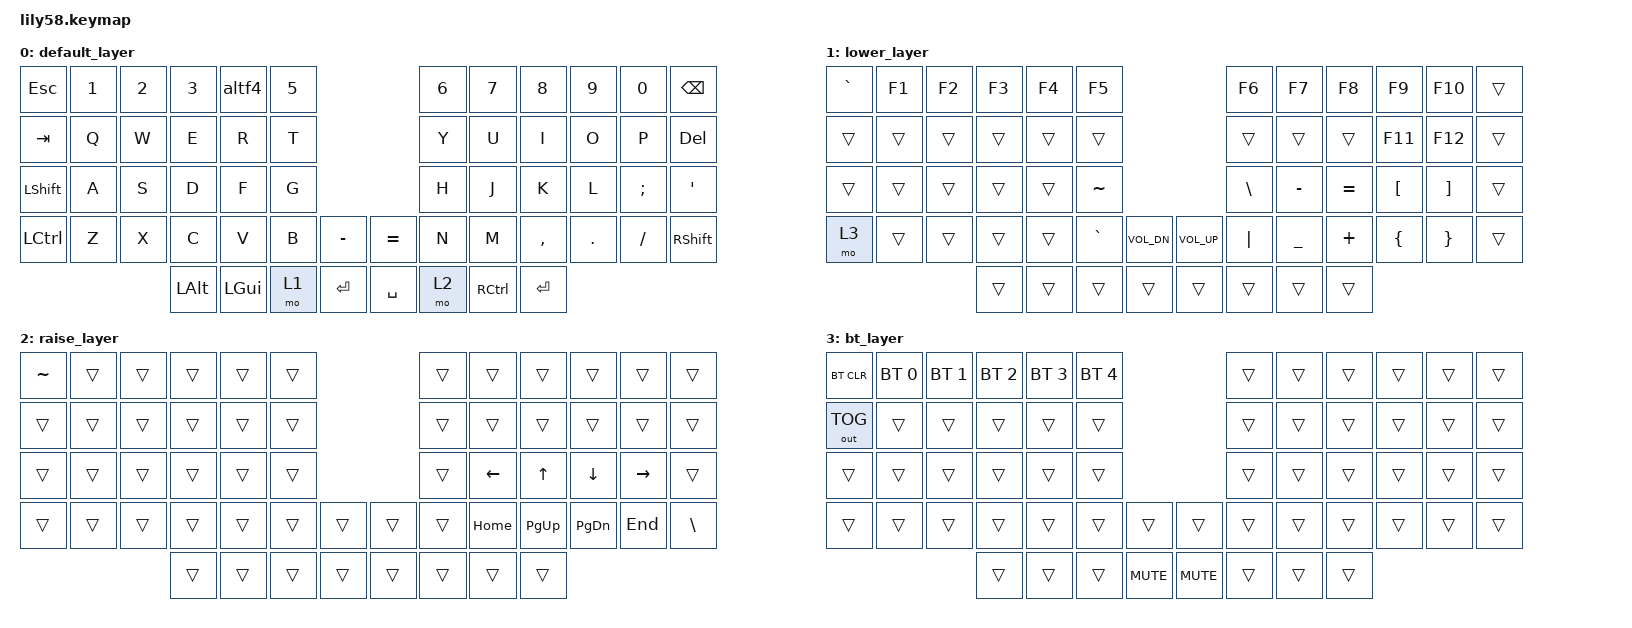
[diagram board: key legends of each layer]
/*
 * Copyright (c) 2020 The ZMK Contributors
 *
 * SPDX-License-Identifier: MIT
 */

#include <behaviors.dtsi>
#include <dt-bindings/zmk/keys.h>
#include <dt-bindings/zmk/bt.h>
#include <dt-bindings/zmk/outputs.h>

/ {
	
    behaviors {
        altf4: alt_f4 {
            compatible = "zmk,behavior-mod-morph";
            label = "ALT_F4";
            #binding-cells = <0>;
            bindings = <&kp N4>, <&kp LA(F4)>;
            mods = <(MOD_LALT)>;
        };
    };

	keymap {
		compatible = "zmk,keymap";

		default_layer {
// ------------------------------------------------------------------------------------------------------------------
// |  ESC  |  1  |  2  |  3   |  4*  |  5   |                         |  6   |  7    |  8    |  9   |   0   | BSPC  |
// |  TAB  |  Q  |  W  |  E   |  R   |  T   |                         |  Y   |  U    |  I    |  O   |   P   |  DEL  |
// | SHIFT |  A  |  S  |  D   |  F   |  G   |                         |  H   |  J    |  K    |  L   |   ;   |   '   |
// | CTRL  |  Z  |  X  |  C   |  V   |  B   |    -   |        |   =   |  N   |  M    |  ,    |  .   |   /   | SHIFT |
//                     | ALT  | GUI  | LOWER|  ENTER |        | SPACE | RAISE| CTRL  | ENTER |
			bindings = <
&kp ESC   &kp N1 &kp N2 &kp N3   &altf4   &kp N5                      &kp N6 &kp N7    &kp N8    &kp N9  &kp N0   &kp BSPC
&kp TAB   &kp Q  &kp W  &kp E    &kp R    &kp T                       &kp Y  &kp U     &kp I     &kp O   &kp P    &kp DEL
&kp LSHFT &kp A  &kp S  &kp D    &kp F    &kp G                       &kp H  &kp J     &kp K     &kp L   &kp SEMI &kp SQT
&kp LCTRL &kp Z  &kp X  &kp C    &kp V    &kp B  &kp MINUS  &kp EQUAL &kp N  &kp M     &kp COMMA &kp DOT &kp FSLH &kp RSHFT
                        &kp LALT &kp LGUI &mo 1  &kp RET    &kp SPACE &mo 2  &kp RCTRL &kp ENTER
			>;
		};

		lower_layer {
// ----------------------------------------------------------------------------------------------------------------------------------------
// |  `  |  F1 |  F2 |  F3  |  F4  |  F5  |                                                |  F6   |  F7   |  F8   |  F9  |  F10  |  DEL  |
// |     |     |     |      |      |      |                                                |       |       |       |  F11 |  F12  |       |
// |     |     |     |      |      |  ~   |                                                |  \    |  -    |  =    |  (   |   )   |       |
// |     |     |     |      |      |  `   |  Vol-  |                           |  Vol+     |  |    |  _    |  +    |  {   |   }   |       |
//                   |      |      |      |        |                           |           |       |       |       |
			bindings = <
&kp GRAVE  &kp F1   &kp F2  &kp F3    &kp F4      &kp F5                                   &kp F6   &kp F7    &kp F8    &kp F9    &kp F10   &trans
&trans     &trans   &trans  &trans    &trans      &trans                                   &trans   &trans    &trans    &kp F11   &kp F12   &trans
&trans     &trans   &trans  &trans    &trans      &kp TILDE                                &kp BSLH &kp MINUS &kp EQUAL &kp LBKT  &kp RBKT  &trans
&mo 3      &trans   &trans  &trans    &trans      &kp GRAVE   &kp C_VOL_DN   &kp C_VOL_UP  &kp PIPE &kp UNDER &kp PLUS  &kp LBRC  &kp RBRC  &trans
                            &trans    &trans      &trans      &trans         &trans        &trans   &trans    &trans
			>;
		};

		raise_layer {
// ------------------------------------------------------------------------------------------------------------------
// |   ~   |     |     |      |      |      |                         |      |       |       |      |       |       |
// |       |     |     |      |      |      |                         |      |       |       |      |       |       |
// |       |     |     |      |      |      |                         |      |   <-  |   ^   |  v   |  ->   |       |
// |       |     |     |      |      |      |        |        |       |      | Home  | PgUp  | PgDn |  End  |       |
//                     |      |      |      |        |        |       |      |       |       |
			bindings = <
&kp TILDE &trans &trans &trans  &trans  &trans                        &trans   &trans    &trans    &trans    &trans    &trans
&trans    &trans &trans &trans  &trans  &trans                        &trans   &trans    &trans    &trans    &trans    &trans
&trans    &trans &trans &trans  &trans  &trans                        &trans   &kp LEFT  &kp UP    &kp DOWN  &kp RIGHT &trans
&trans    &trans &trans &trans  &trans  &trans  &trans      &trans    &trans   &kp HOME  &kp PG_UP &kp PG_DN &kp END   &kp BSLH
                        &trans  &trans  &trans  &trans      &trans    &trans   &trans    &trans
			>;
		};

		bt_layer {
// ----------------------------------------------------------------------------------------------------------------------------------------------------
// | BTCLR | BT1 | BT2 |  BT3 |  BT4 |  BT5 |                                                           |      |       |       |      |       |       |
// |OUT TOG|     |     |      |      |      |                                                           |      |       |       |      |       |       |
// |       |     |     |      |      |      |                                                           |      |       |       |      |       |       |
// |       |     |     |      |      |      |        |                                          |       |      |       |       |      |       |       |
//                     |      |      |      |        |                                          |       |      |       |       |
			bindings = <
&bt BT_CLR   &bt BT_SEL 0  &bt BT_SEL 1  &bt BT_SEL 2  &bt BT_SEL 3  &bt BT_SEL 4                           &trans  &trans  &trans  &trans  &trans  &trans
&out OUT_TOG &trans        &trans        &trans        &trans        &trans                                 &trans  &trans  &trans  &trans  &trans  &trans
&trans       &trans        &trans        &trans        &trans        &trans                                 &trans  &trans  &trans  &trans  &trans  &trans
&trans       &trans        &trans        &trans        &trans        &trans         &trans      &trans      &trans  &trans  &trans  &trans  &trans  &trans
                                         &trans        &trans        &trans         &kp C_MUTE  &kp C_MUTE  &trans  &trans  &trans
			>;
		};
	};
};
